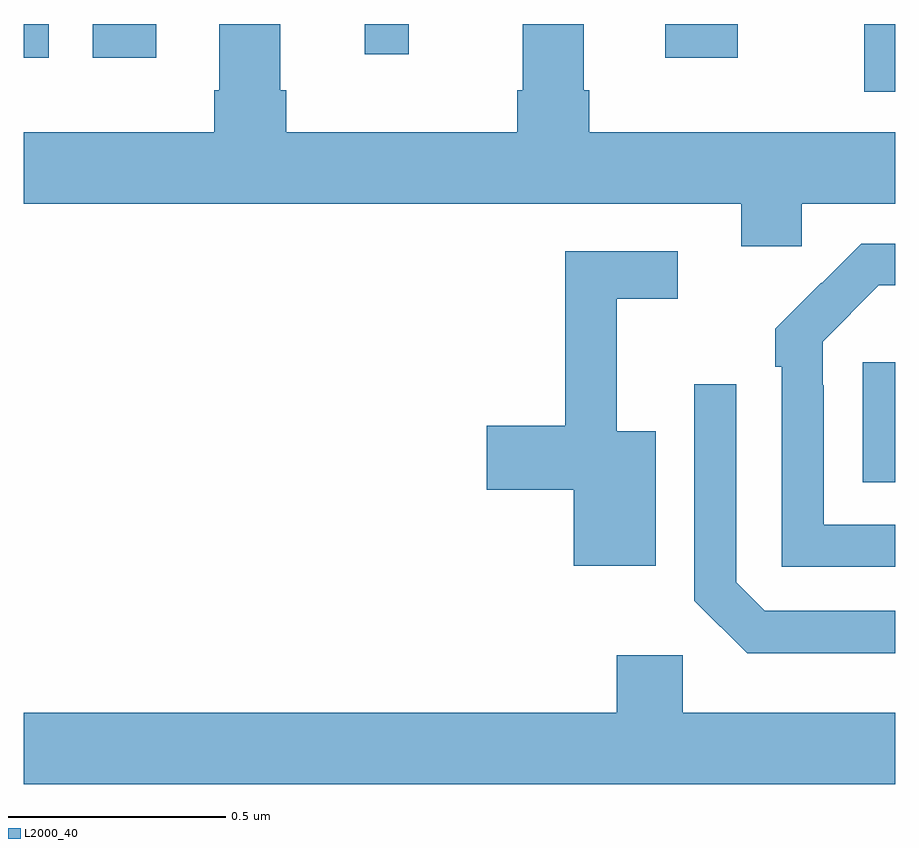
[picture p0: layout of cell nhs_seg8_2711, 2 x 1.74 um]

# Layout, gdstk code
import gdstk
lib = gdstk.Library(unit=1e-6, precision=1e-09)
def R(c, l, rs):  # rectangles x0, y0, x1, y1
    for r in rs: c.add(gdstk.rectangle(r[:2], r[2:], *l))
def P(c, l, *ps):  # polygons
    for p in ps: c.add(gdstk.Polygon(p, *l))
L2000_40 = (2000, 40)

nhs_seg8_2711 = lib.new_cell('nhs_seg8_2711')
R(nhs_seg8_2711, L2000_40, [(148.925,1127.849,149,1128.124), (148.929,1128.744,149,1128.9), (147,1128.822,147.058,1128.9), (147.158,1128.822,147.304,1128.9), (148.472,1128.822,148.638,1128.9), (147.782,1128.831,147.884,1128.9)])
P(nhs_seg8_2711, L2000_40, [(148.785,1128.488),(149,1128.488),(149,1128.652),(148.298,1128.652),(148.298,1128.748),(148.285,1128.748),(148.285,1128.9),(148.145,1128.9),(148.145,1128.748),(148.133,1128.748),(148.133,1128.652),(147.602,1128.652),(147.602,1128.748),(147.589,1128.748),(147.589,1128.9),(147.449,1128.9),(147.449,1128.748),(147.437,1128.748),(147.437,1128.652),(147,1128.652),(147,1128.488),(148.646,1128.488),(148.646,1128.39),(148.785,1128.39)],
  [(149,1127.751),(148.836,1127.751),(148.836,1128.071),(148.833,1128.071),(148.833,1128.171),(148.962,1128.3),(149,1128.3),(149,1128.396),(148.922,1128.396),(148.831,1128.305),(148.83,1128.306),(148.725,1128.201),(148.725,1128.113),(148.74,1128.113),(148.74,1127.655),(149,1127.655)],
  [(148.45,1127.965),(148.361,1127.965),(148.361,1128.27),(148.501,1128.27),(148.501,1128.378),(148.243,1128.378),(148.243,1127.978),(148.062,1127.978),(148.062,1127.831),(148.262,1127.831),(148.262,1127.657),(148.45,1127.657)],
  [(149,1127.553),(148.701,1127.553),(148.635,1127.619),(148.635,1128.073),(148.539,1128.073),(148.539,1127.577),(148.66,1127.456),(149,1127.456)],
  [(149,1127.32),(148.512,1127.32),(148.512,1127.452),(148.361,1127.452),(148.361,1127.32),(147,1127.32),(147,1127.156),(149,1127.156)])

lib.write_gds('nhs_seg8_2711.gds')
